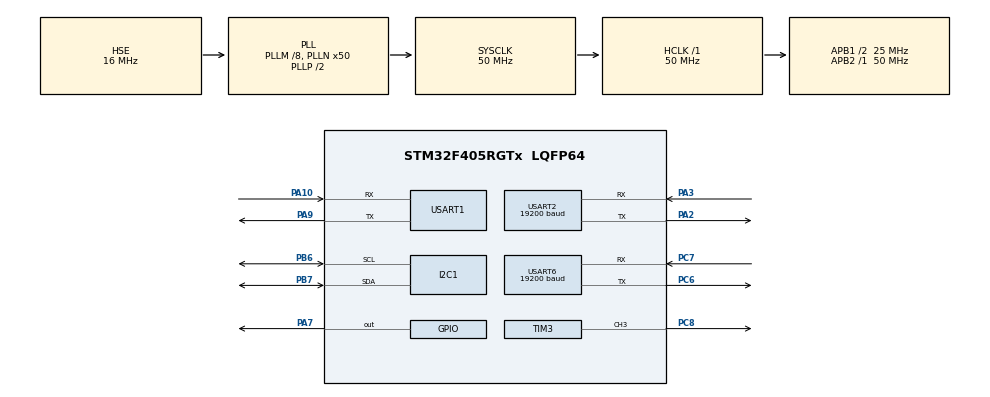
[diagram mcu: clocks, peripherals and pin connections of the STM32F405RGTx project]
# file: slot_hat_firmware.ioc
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FREERTOS.Tasks01=defaultTask,24,128,StartDefaultTask,Default,NULL,Dynamic,NULL,NULL
Mcu.Family=STM32F4
Mcu.Name=STM32F405RGTx
Mcu.Package=LQFP64
NVIC.PriorityGroup=NVIC_PRIORITYGROUP_4
NVIC.TIM8_TRG_COM_TIM14_IRQn=true\:15\:0\:false\:false\:true\:false\:false\:true\:true
NVIC.TimeBase=TIM8_TRG_COM_TIM14_IRQn
NVIC.TimeBaseIP=TIM14
PA10.Mode=Asynchronous
PA10.Signal=USART1_RX
PA13.Mode=Serial_Wire
PA13.Signal=SYS_JTMS-SWDIO
PA14.Mode=Serial_Wire
PA14.Signal=SYS_JTCK-SWCLK
PA2.Mode=Asynchronous
PA2.Signal=USART2_TX
PA3.Mode=Asynchronous
PA3.Signal=USART2_RX
PA7.Signal=GPIO_Output
PA9.Mode=Asynchronous
PA9.Signal=USART1_TX
PB6.Mode=I2C
PB6.Signal=I2C1_SCL
PB7.Mode=I2C
PB7.Signal=I2C1_SDA
PC6.Mode=Asynchronous
PC6.Signal=USART6_TX
PC7.Mode=Asynchronous
PC7.Signal=USART6_RX
PC8.Signal=S_TIM3_CH3
PH0-OSC_IN.Mode=HSE-External-Oscillator
PH0-OSC_IN.Signal=RCC_OSC_IN
PH1-OSC_OUT.Mode=HSE-External-Oscillator
PH1-OSC_OUT.Signal=RCC_OSC_OUT
ProjectManager.HeapSize=0x200
ProjectManager.StackSize=0x400
ProjectManager.TargetToolchain=CMake
RCC.48MHZClocksFreq_Value=25000000
RCC.AHBFreq_Value=50000000
RCC.APB1CLKDivider=RCC_HCLK_DIV2
RCC.APB1Freq_Value=25000000
RCC.APB1TimFreq_Value=50000000
RCC.APB2Freq_Value=50000000
RCC.APB2TimFreq_Value=50000000
RCC.CortexFreq_Value=50000000
RCC.HCLKFreq_Value=50000000
RCC.HSE_VALUE=16000000
RCC.HSI_VALUE=16000000
RCC.LSE_VALUE=32768
RCC.PLLM=8
RCC.PLLN=50
RCC.PLLSourceVirtual=RCC_PLLSOURCE_HSE
RCC.SYSCLKFreq_VALUE=50000000
RCC.SYSCLKSource=RCC_SYSCLKSOURCE_PLLCLK
RCC.VCOOutputFreq_Value=100000000
SH.S_TIM3_CH3.0=TIM3_CH3,PWM Generation3 CH3
TIM3.Channel-PWM\ Generation3\ CH3=TIM_CHANNEL_3
TIM3.Period=24414
TIM3.Pulse-PWM\ Generation3\ CH3=12207
USART1.VirtualMode=VM_ASYNC
USART2.BaudRate=19200
USART2.VirtualMode=VM_ASYNC
USART2.WordLength=WORDLENGTH_9B
USART6.BaudRate=19200
USART6.VirtualMode=VM_ASYNC
VP_FREERTOS_VS_CMSIS_V2.Mode=CMSIS_V2
VP_IWDG_VS_IWDG.Mode=IWDG_Activate
VP_SYS_VS_tim14.Mode=TIM14
VP_TIM3_VS_ClockSourceINT.Mode=Internal
board=custom

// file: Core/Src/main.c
/* USER CODE BEGIN Header */
/**
  ******************************************************************************
  * @file           : main.c
  * @brief          : Main program body
  ******************************************************************************
  * @attention
  *
  * Copyright (c) 2025 STMicroelectronics.
  * All rights reserved.
  *
  * This software is licensed under terms that can be found in the LICENSE file
  * in the root directory of this software component.
  * If no LICENSE file comes with this software, it is provided AS-IS.
  *
  ******************************************************************************
  */
/* USER CODE END Header */
#include "main.h"
#include "cmsis_os.h"
#include "i2c.h"
#include "iwdg.h"
#include "tim.h"
#include "usart.h"
#include "gpio.h"

void SystemClock_Config(void);
void MX_FREERTOS_Init(void);

int main(void)
{

  /* MCU Configuration--------------------------------------------------------*/

  /* Reset of all peripherals, Initializes the Flash interface and the Systick. */
  HAL_Init();

  /* Configure the system clock */
  SystemClock_Config();

  /* Initialize all configured peripherals */
  MX_GPIO_Init();
  MX_IWDG_Init();
  MX_I2C1_Init();
  MX_USART1_UART_Init();
  MX_USART2_UART_Init();
  MX_USART6_UART_Init();
  MX_TIM3_Init();

  /* Init scheduler */
  osKernelInitialize();  /* Call init function for freertos objects (in cmsis_os2.c) */
  MX_FREERTOS_Init();

  /* Start scheduler */
  osKernelStart();

  /* We should never get here as control is now taken by the scheduler */

  /* Infinite loop */
  while (1)
  {

  }
}

void SystemClock_Config(void)
{
  RCC_OscInitTypeDef RCC_OscInitStruct = {0};
  RCC_ClkInitTypeDef RCC_ClkInitStruct = {0};

  /** Configure the main internal regulator output voltage
  */
  __HAL_RCC_PWR_CLK_ENABLE();
  __HAL_PWR_VOLTAGESCALING_CONFIG(PWR_REGULATOR_VOLTAGE_SCALE1);

  /** Initializes the RCC Oscillators according to the specified parameters
  * in the RCC_OscInitTypeDef structure.
  */
  RCC_OscInitStruct.OscillatorType = RCC_OSCILLATORTYPE_LSI|RCC_OSCILLATORTYPE_HSE;
  RCC_OscInitStruct.HSEState = RCC_HSE_ON;
  RCC_OscInitStruct.LSIState = RCC_LSI_ON;
  RCC_OscInitStruct.PLL.PLLState = RCC_PLL_ON;
  RCC_OscInitStruct.PLL.PLLSource = RCC_PLLSOURCE_HSE;
  RCC_OscInitStruct.PLL.PLLM = 8;
  RCC_OscInitStruct.PLL.PLLN = 50;
  RCC_OscInitStruct.PLL.PLLP = RCC_PLLP_DIV2;
  RCC_OscInitStruct.PLL.PLLQ = 4;
  if (HAL_RCC_OscConfig(&RCC_OscInitStruct) != HAL_OK)
  {
    Error_Handler();
  }

  /** Initializes the CPU, AHB and APB buses clocks
  */
  RCC_ClkInitStruct.ClockType = RCC_CLOCKTYPE_HCLK|RCC_CLOCKTYPE_SYSCLK
                              |RCC_CLOCKTYPE_PCLK1|RCC_CLOCKTYPE_PCLK2;
  RCC_ClkInitStruct.SYSCLKSource = RCC_SYSCLKSOURCE_PLLCLK;
  RCC_ClkInitStruct.AHBCLKDivider = RCC_SYSCLK_DIV1;
  RCC_ClkInitStruct.APB1CLKDivider = RCC_HCLK_DIV2;
  RCC_ClkInitStruct.APB2CLKDivider = RCC_HCLK_DIV1;

  if (HAL_RCC_ClockConfig(&RCC_ClkInitStruct, FLASH_LATENCY_1) != HAL_OK)
  {
    Error_Handler();
  }
}

void HAL_TIM_PeriodElapsedCallback(TIM_HandleTypeDef *htim)
{
  if (htim->Instance == TIM14)
  {
    HAL_IncTick();
  }
}

void Error_Handler(void)
{
  __disable_irq();
  while (1)
  {
  }
}

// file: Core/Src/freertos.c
/* USER CODE BEGIN Header */
/**
  ******************************************************************************
  * File Name          : freertos.c
  * Description        : Code for freertos applications
  ******************************************************************************
  * @attention
  *
  * Copyright (c) 2025 STMicroelectronics.
  * All rights reserved.
  *
  * This software is licensed under terms that can be found in the LICENSE file
  * in the root directory of this software component.
  * If no LICENSE file comes with this software, it is provided AS-IS.
  *
  ******************************************************************************
  */
/* USER CODE END Header */

#include "FreeRTOS.h"
#include "task.h"
#include "main.h"
#include "cmsis_os.h"

/* USER CODE BEGIN Includes */
#include <stdio.h>
#include "usart.h"
#include "gpio.h"
#include "tim.h"
/* USER CODE END Includes */

/* Definitions for defaultTask */
osThreadId_t defaultTaskHandle;
const osThreadAttr_t defaultTask_attributes = {
  .name = "defaultTask",
  .stack_size = 128 * 4,
  .priority = (osPriority_t) osPriorityNormal,
};

void StartDefaultTask(void *argument);

void MX_FREERTOS_Init(void); /* (MISRA C 2004 rule 8.1) */

void MX_FREERTOS_Init(void) {

  /* Create the thread(s) */
  /* creation of defaultTask */
  defaultTaskHandle = osThreadNew(StartDefaultTask, NULL, &defaultTask_attributes);

}

void StartDefaultTask(void *argument)
{
  /* USER CODE BEGIN StartDefaultTask */
  // Drive TIM3 PWM on PC8 with 1s on / 1s off / 1s on sequence, then leave it off.
  if (HAL_TIM_PWM_Start(&htim3, TIM_CHANNEL_3) != HAL_OK)
  {
    Error_Handler();
  }
  osDelay(250);

  if (HAL_TIM_PWM_Stop(&htim3, TIM_CHANNEL_3) != HAL_OK)
  {
    Error_Handler();
  }
  osDelay(250);

  if (HAL_TIM_PWM_Start(&htim3, TIM_CHANNEL_3) != HAL_OK)
  {
    Error_Handler();
  }
  osDelay(250);

  if (HAL_TIM_PWM_Stop(&htim3, TIM_CHANNEL_3) != HAL_OK)
  {
    Error_Handler();
  }

  /* Infinite loop */
  for(;;)
  {
    uint16_t rx = 0;
    HAL_StatusTypeDef status = HAL_UART_Receive(&huart2, (uint8_t *)&rx, 1, 1);

    if (status == HAL_OK)
    {
      printf("USART2 RX: 0x%03X\n", rx);
    }
    else if (status != HAL_TIMEOUT)
    {
      printf("USART2 receive error: %ld\n", (long)status);
      osDelay(10);
    }

    osDelay(1);
    // HAL_GPIO_TogglePin(GPIOA, GPIO_PIN_7);
    // osDelay(250);

  }
  /* USER CODE END StartDefaultTask */
}
